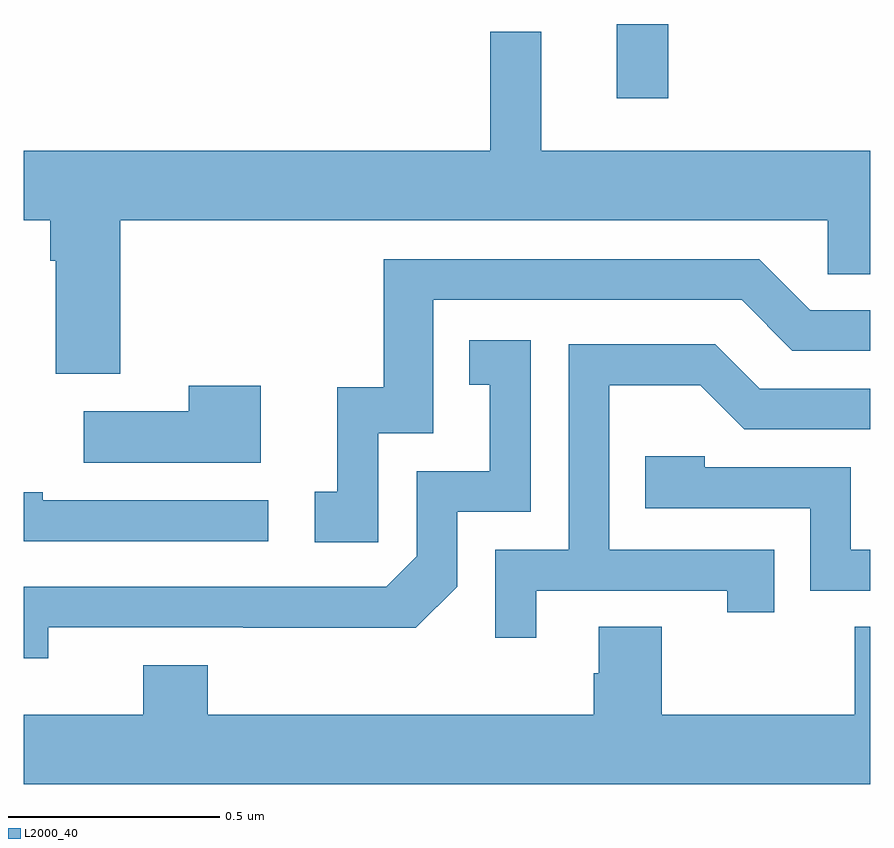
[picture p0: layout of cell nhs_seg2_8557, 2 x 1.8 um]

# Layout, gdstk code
import gdstk
lib = gdstk.Library(unit=1e-6, precision=1e-09)
def R(c, l, rs):  # rectangles x0, y0, x1, y1
    for r in rs: c.add(gdstk.rectangle(r[:2], r[2:], *l))
def P(c, l, *ps):  # polygons
    for p in ps: c.add(gdstk.Polygon(p, *l))
L2000_40 = (2000, 40)

nhs_seg2_8557 = lib.new_cell('nhs_seg2_8557')
R(nhs_seg2_8557, L2000_40, [(219.401,614.625,219.523,614.8)])
P(nhs_seg2_8557, L2000_40, [(218.228,614.336),(219.9,614.336),(219.9,614.209),(220,614.209),(220,614.5),(219.223,614.5),(219.223,614.782),(219.102,614.782),(219.102,614.5),(218,614.5),(218,614.336),(218.063,614.336),(218.063,614.24),(218.075,614.24),(218.075,613.974),(218.228,613.974)],
  [(218.838,613.833),(218.967,613.833),(218.967,614.148),(219.696,614.148),(219.816,614.028),(220,614.028),(220,614.124),(219.858,614.124),(219.738,614.244),(218.851,614.244),(218.851,613.942),(218.741,613.942),(218.741,613.695),(218.688,613.695),(218.688,613.575),(218.838,613.575)],
  [(218.058,613.374),(218.518,613.374),(218.518,613.373),(218.926,613.373),(219.024,613.47),(219.024,613.647),(219.198,613.647),(219.198,614.053),(219.052,614.053),(219.052,613.947),(219.101,613.947),(219.101,613.743),(218.928,613.743),(218.928,613.542),(218.856,613.47),(218,613.47),(218,613.301),(218.058,613.301)],
  [(219.211,613.461),(219.662,613.461),(219.662,613.41),(219.773,613.41),(219.773,613.557),(219.384,613.557),(219.384,613.946),(219.598,613.946),(219.702,613.842),(220,613.842),(220,613.938),(219.739,613.938),(219.634,614.043),(219.288,614.043),(219.288,613.557),(219.114,613.557),(219.114,613.35),(219.211,613.35)],
  [(218.56,613.945),(218.39,613.945),(218.39,613.885),(218.141,613.885),(218.141,613.763),(218.56,613.763)],
  [(220,613.557),(219.954,613.557),(219.954,613.752),(219.609,613.752),(219.609,613.779),(219.469,613.779),(219.469,613.656),(219.858,613.656),(219.858,613.461),(220,613.461)],
  [(218.578,613.674),(218.045,613.674),(218.045,613.694),(218,613.694),(218,613.578),(218.578,613.578)],
  [(220,613.376),(219.964,613.376),(219.964,613.168),(219.507,613.168),(219.507,613.376),(219.359,613.376),(219.359,613.266),(219.347,613.266),(219.347,613.168),(218.435,613.168),(218.435,613.285),(218.282,613.285),(218.282,613.168),(218,613.168),(218,613.004),(220,613.004)])

lib.write_gds('nhs_seg2_8557.gds')
